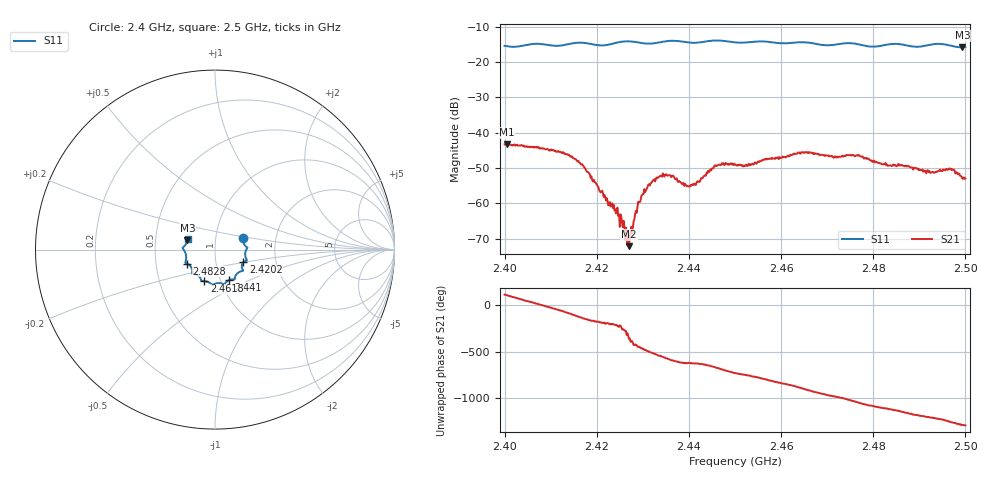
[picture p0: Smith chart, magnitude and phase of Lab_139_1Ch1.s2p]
# Hz S RI R 50
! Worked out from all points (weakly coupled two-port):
!   601 points, 2.4 GHz to 2.5 GHz, reference 50 ohm
!   highest |S21| = -43.23 dB at 2.4005 GHz (marker M1); lowest = -72.1 dB at 2.427 GHz (marker M2)
!   lowest |S11| = -15.8 dB at 2.4993 GHz (marker M3), VSWR 1.39, Z = 36.5 + j3.84 ohm
!   |S11| at or under -10 dB: start of sweep to end of sweep
!   S12 and S22 are empty: the file has one direction only
!   S11 on the Smith chart (normalised r, x): 2.4 GHz: 1.36, +0.18; 2.4202 GHz: 1.36, -0.20; 2.441 GHz: 1.10, -0.39; 2.4618 GHz: 0.84, -0.31; 2.4828 GHz: 0.72, -0.12; 2.5 GHz: 0.73, +0.09
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2.4e9  0.1574 0.0628  -0.00285 0.00622  0 0  0 0
2.4005e9  0.157 0.0572  -0.00199 0.0066  0 0  0 0
2.412167e9  0.168 -0.0304  0.00284 -0.00453  0 0  0 0
2.416667e9  0.1778 -0.0601  -0.0024 -0.00263  0 0  0 0
2.420167e9  0.1579 -0.0708  -0.00178 -7.36e-05  0 0  0 0
2.424167e9  0.1522 -0.108  -0.000595 0.00041  0 0  0 0
2.4265e9  0.157 -0.118  0.000255 0.000218  0 0  0 0
2.427e9  0.1564 -0.1185  0.000249 -9.22e-06  0 0  0 0
2.4295e9  0.1413 -0.122  -0.000181 -0.00108  0 0  0 0
2.433333e9  0.1119 -0.1511  -0.00235 -8.39e-06  0 0  0 0
2.441e9  0.0786 -0.1696  -0.000207 0.00186  0 0  0 0
2.446e9  0.0507 -0.1951  0.00223 0.00254  0 0  0 0
2.45e9  0.0284 -0.187  0.00351 -0.000454  0 0  0 0
2.461833e9  -0.0593 -0.1759  -0.00334 -0.00327  0 0  0 0
2.466667e9  -0.0779 -0.168  -0.00479 0.00202  0 0  0 0
2.476833e9  -0.126 -0.1255  0.00406 0.00269  0 0  0 0
2.482833e9  -0.1575 -0.0775  0.00305 -0.00164  0 0  0 0
2.483333e9  -0.1605 -0.0762  0.00283 -0.00195  0 0  0 0
2.492833e9  -0.1776 0.00353  -0.00179 -0.00215  0 0  0 0
2.497e9  -0.1675 0.0228  -0.00296 -0.000183  0 0  0 0
2.499333e9  -0.1533 0.0512  -0.00205 0.000946  0 0  0 0
2.5e9  -0.1516 0.061  -0.00197 0.0011  0 0  0 0
